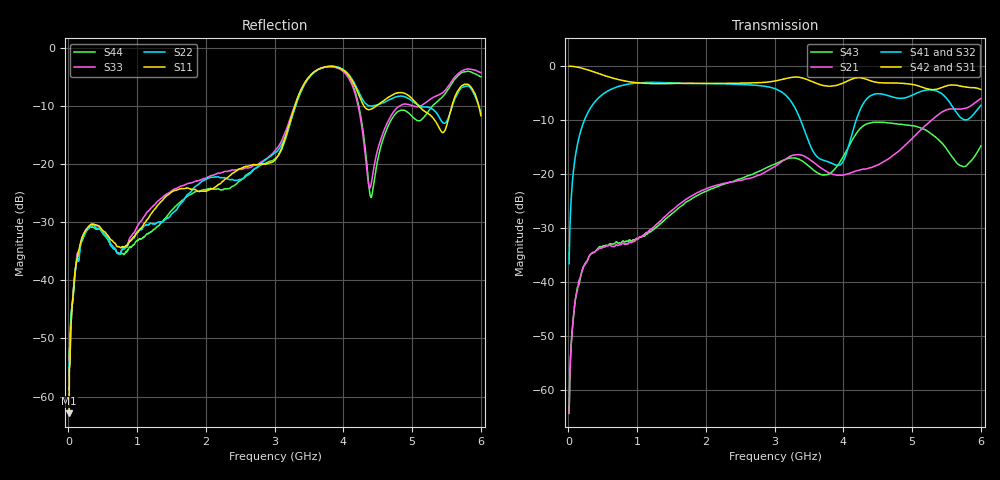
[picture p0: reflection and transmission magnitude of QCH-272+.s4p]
!Mini-Circuits Laboratory
!S-Parameters
!Model: QCH-272+
!Run/Date Code:1727
!DATA FOR: UNIT # 2
!Unit soldered on TB-884+
!Freq	S11:SOLT4(ON)	S12:SOLT4(ON)	S13:SOLT4(ON)	S14:SOLT4(ON)
!	S21:SOLT4(ON)	S22:SOLT4(ON)	S23:SOLT4(ON)	S24:SOLT4(ON)
!	S31:SOLT4(ON)	S32:SOLT4(ON)	S33:SOLT4(ON)	S34:SOLT4(ON)
!	S41:SOLT4(ON)	S42:SOLT4(ON)	S43:SOLT4(ON)	S44:SOLT4(ON)
!PortZ  Port1:50+j0  Port2:50+j0  Port3:50+j0  Port4:50+j0
!Above PortZ is port z conversion or system Z0 setting when saving the data.
!When reading, reference impedance value at option line is always used.
!Connection: PORT-1 - pin<1>;  PORT-2 - pin<2>;  PORT-3- pin<3>; PORT-4- pin<4>
!PORT EXTENSION DONE ON TEST BOARD WITH LOSS ON AND MISMATCH ON
!Agilent Technologies,E5071C,MY46101856,A.08.10
!Date: Sun Feb 25 08:46:06 2018
# Hz S RI R 50
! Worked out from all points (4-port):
!   1601 points, 10 MHz to 6 GHz, reference 50 ohm
!   strongest paths, dB at 10 MHz, 1.284 GHz, 2.084 GHz, 3.16 GHz, 6 GHz:
!     S42: -0.1, -3.3, -3.3, -2.4, -4.4
!     S31: -0.1, -3.3, -3.3, -2.4, -4.7
!     S41: -36.6, -3.1, -3.3, -5.4, -7.3
!     S32: -36.6, -3.1, -3.3, -5.5, -8.0
!     S21: -64.3, -29.3, -22.4, -17.2, -6.0
!     S43: -64.3, -29.8, -22.8, -17.3, -14.8
!   lowest |S11| = -62.9 dB at 10 MHz (marker M1), VSWR 1.00, Z = 50 - j0.0604 ohm
!   |S11| at or under -10 dB: start of sweep to 3.294 GHz; 4.3 GHz to 4.476 GHz (175.6 MHz wide, 4 % of centre); 5.097 GHz to 5.578 GHz (480.6 MHz wide, 9 % of centre)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
1e7  -0.000387 -0.000604  -6.64e-05 0.000606  0.9924 -0.0354  0.000658 0.0148
     -7.13e-05 0.000607  0.00124 -0.000911  0.000661 0.0148  0.9914 -0.0355
     0.9916 -0.0353  0.000659 0.0148  -0.00034 -0.00109  -5.57e-05 0.000607
     0.000656 0.0148  0.9915 -0.0355  -5.51e-05 0.000608  0.00114 -0.000959
1.038e9  -0.0178 -0.0211  0.00564 0.0252  -0.6854 -0.1094  0.1111 -0.6878
         0.00603 0.0253  -0.023 -0.0144  0.1031 -0.6889  -0.6858 -0.1028
         -0.6849 -0.1098  0.1033 -0.6888  -0.0229 -0.0219  0.00578 0.0256
         0.1111 -0.6876  -0.6858 -0.1028  0.00543 0.0255  -0.0183 -0.0136
2.258e9  -0.0324 -0.0646  0.0524 0.0621  0.6853 0.0455  -0.0339 0.681
         0.0521 0.0627  -0.0579 -0.0499  -0.031 0.6792  0.6868 0.0314
         0.6846 0.0458  -0.0311 0.6789  -0.0639 -0.0572  0.0627 0.0512
         -0.0339 0.6806  0.6872 0.0311  0.0627 0.0501  -0.045 -0.0406
3.34e9  0.0789 -0.3706  0.1401 0.0574  -0.7696 -0.1233  0.0648 -0.3511
        0.1396 0.0571  0.0225 -0.3649  0.0602 -0.3496  -0.7787 -0.1007
        -0.7678 -0.1239  0.0609 -0.3496  -0.0385 -0.3813  0.1332 0.0344
        0.0657 -0.351  -0.7793 -0.0983  0.1334 0.0342  -0.0127 -0.3656
4.37e9  -0.2923 -0.037  0.0619 -0.0942  0.7056 0.2261  0.1739 -0.4859
        0.062 -0.0948  -0.3182 -0.00522  0.1481 -0.485  0.7069 0.2057
        0.703 0.2246  0.1499 -0.4846  -0.0605 0.023  0.1396 -0.2608
        0.1738 -0.4853  0.7064 0.2049  0.1384 -0.2598  -0.0469 0.0468
5.01e9  -0.3586 -0.0395  0.1747 0.1266  0.0085 -0.6548  -0.5257 -0.1109
        0.1754 0.1261  -0.3397 -0.0656  -0.5189 -0.0619  -0.0221 -0.6715
        0.00947 -0.653  -0.5212 -0.0622  -0.2252 -0.2248  0.0457 0.2753
        -0.5267 -0.1097  -0.0217 -0.6714  0.0461 0.2752  -0.1989 -0.1583
6e9  -0.2466 -0.0884  0.2643 0.4215  -0.0577 0.5765  0.3816 0.2093
     0.2653 0.4222  -0.2399 -0.1316  0.3632 0.1657  -0.0235 0.6024
     -0.0585 0.5764  0.3622 0.1638  -0.3938 -0.4714  0.1492 0.1069
     0.3788 0.2059  -0.0242 0.6038  0.1471 0.1061  -0.3938 -0.4047
